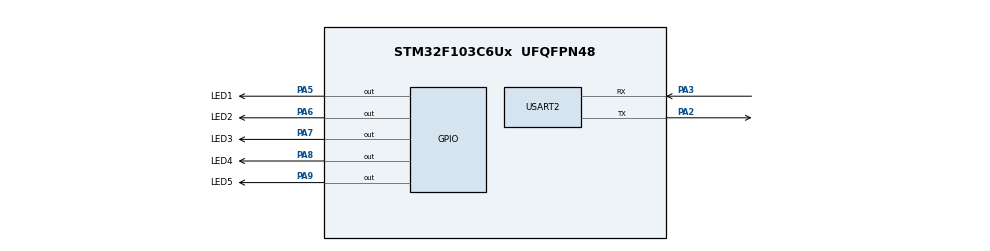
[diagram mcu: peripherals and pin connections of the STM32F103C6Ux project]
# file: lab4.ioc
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Mcu.Family=STM32F1
Mcu.Name=STM32F103C6Ux
Mcu.Package=UFQFPN48
NVIC.PriorityGroup=NVIC_PRIORITYGROUP_4
NVIC.TIM2_IRQn=true\:0\:0\:false\:false\:true\:true\:true
PA13.Mode=Serial_Wire
PA13.Signal=SYS_JTMS-SWDIO
PA14.Mode=Serial_Wire
PA14.Signal=SYS_JTCK-SWCLK
PA2.Mode=Asynchronous
PA2.Signal=USART2_TX
PA3.Mode=Asynchronous
PA3.Signal=USART2_RX
PA5.GPIO_Label=LED1
PA5.PinState=GPIO_PIN_RESET
PA5.Signal=GPIO_Output
PA6.GPIO_Label=LED2
PA6.PinState=GPIO_PIN_RESET
PA6.Signal=GPIO_Output
PA7.GPIO_Label=LED3
PA7.PinState=GPIO_PIN_RESET
PA7.Signal=GPIO_Output
PA8.GPIO_Label=LED4
PA8.PinState=GPIO_PIN_RESET
PA8.Signal=GPIO_Output
PA9.GPIO_Label=LED5
PA9.PinState=GPIO_PIN_RESET
PA9.Signal=GPIO_Output
ProjectManager.HeapSize=0x200
ProjectManager.StackSize=0x400
ProjectManager.TargetToolchain=STM32CubeIDE
RCC.APB1Freq_Value=8000000
RCC.APB2Freq_Value=8000000
TIM2.Period=9
TIM2.Prescaler=7999
USART2.VirtualMode=VM_ASYNC
VP_TIM2_VS_ClockSourceINT.Mode=Internal
board=custom

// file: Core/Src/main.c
/* USER CODE BEGIN Header */
/**
  ******************************************************************************
  * @file           : main.c
  * @brief          : Main program body
  ******************************************************************************
  * @attention
  *
  * <h2><center>&copy; Copyright (c) 2026 STMicroelectronics.
  * All rights reserved.</center></h2>
  *
  * This software component is licensed by ST under BSD 3-Clause license,
  * the "License"; You may not use this file except in compliance with the
  * License. You may obtain a copy of the License at:
  *                        opensource.org/licenses/BSD-3-Clause
  *
  ******************************************************************************
  */
/* USER CODE END Header */
#include "main.h"

/* USER CODE BEGIN Includes */
#include "scheduler.h"
#include <stdio.h>
/* USER CODE END Includes */

/* USER CODE BEGIN PD */
#define DEMO_PRINT   1
/* USER CODE END PD */

TIM_HandleTypeDef htim2;

UART_HandleTypeDef huart2;

void SystemClock_Config(void);
static void MX_GPIO_Init(void);
static void MX_TIM2_Init(void);
static void MX_USART2_UART_Init(void);

/* USER CODE BEGIN 0 */
void Task_LED1(void) { HAL_GPIO_TogglePin(GPIOA, GPIO_PIN_5); }  // D1: 0.5 s
void Task_LED2(void) { HAL_GPIO_TogglePin(GPIOA, GPIO_PIN_6); }  // D2: 1 s
void Task_LED3(void) { HAL_GPIO_TogglePin(GPIOA, GPIO_PIN_7); }  // D3: 1.5 s
void Task_LED4(void) { HAL_GPIO_TogglePin(GPIOA, GPIO_PIN_8); }  // D4: 2 s
void Task_LED5(void) { HAL_GPIO_TogglePin(GPIOA, GPIO_PIN_9); }  // D5: 2.5 s
static void Print_Time(const char *tag) {
    char buf[48];
    int n = sprintf(buf, "%s t=%lu ms\r\n", tag, (unsigned long)get_time());
    HAL_UART_Transmit(&huart2, (uint8_t *)buf, n, 50);
}
void Task_Print10ms(void)  { Print_Time("[10ms ]"); }
void Task_Print500ms(void) { Print_Time("[500ms]"); }
void Task_OneShot(void)    { Print_Time("[ONCE ]"); }

/* Task dùng để demo SCH_Delete_Task */
static uint32_t id_print10 = 0;
void Task_StopPrint10ms(void) {
    SCH_Delete_Task(id_print10);
    Print_Time("[DEL  ]");
}

/* ISR timer: 10 ms một lần */
void HAL_TIM_PeriodElapsedCallback(TIM_HandleTypeDef *htim) {
    if (htim->Instance == TIM2) {
        SCH_Update();
    }
}
/* USER CODE END 0 */

int main(void)
{

  /* MCU Configuration--------------------------------------------------------*/

  /* Reset of all peripherals, Initializes the Flash interface and the Systick. */
  HAL_Init();

  /* Configure the system clock */
  SystemClock_Config();

  /* Initialize all configured peripherals */
  MX_GPIO_Init();
  MX_TIM2_Init();
  MX_USART2_UART_Init();
  /* USER CODE BEGIN 2 */
  HAL_GPIO_WritePin(GPIOA,
      GPIO_PIN_5 | GPIO_PIN_6 | GPIO_PIN_7 | GPIO_PIN_8 | GPIO_PIN_9,
      GPIO_PIN_SET);

  SCH_Init();
  HAL_TIM_Base_Start_IT(&htim2);

  SCH_Add_Task(Task_LED1, 500,  500);    // D1: đổi trạng thái lúc 0.5 s, rồi mỗi 0.5 s
  SCH_Add_Task(Task_LED2, 1000, 1000);   // D2: lúc 1 s, rồi mỗi 1 s
  SCH_Add_Task(Task_LED3, 1500, 1500);   // D3: lúc 1.5 s, rồi mỗi 1.5 s
  SCH_Add_Task(Task_LED4, 2000, 2000);   // D4: lúc 2 s, rồi mỗi 2 s
  SCH_Add_Task(Task_LED5, 2500, 2500);   // D5: lúc 2.5 s, rồi mỗi 2.5 s

  #if DEMO_PRINT
  id_print10 = SCH_Add_Task(Task_Print10ms, 50, 10);   // in mỗi 10 ms
  SCH_Add_Task(Task_Print500ms, 500, 500);             // in mỗi 500 ms
  SCH_Add_Task(Task_OneShot,    3000, 0);              // chạy 1 lần sau 3 s
  SCH_Add_Task(Task_StopPrint10ms, 5000, 0);           // sau 5 s: xóa task 10 ms
  #endif
  /* USER CODE END 2 */

  /* Infinite loop */
  while (1)
  {

    /* USER CODE BEGIN 3 */
	  SCH_Dispatch_Tasks();
  }
  /* USER CODE END 3 */
}

void SystemClock_Config(void)
{
  RCC_OscInitTypeDef RCC_OscInitStruct = {0};
  RCC_ClkInitTypeDef RCC_ClkInitStruct = {0};

  /** Initializes the RCC Oscillators according to the specified parameters
  * in the RCC_OscInitTypeDef structure.
  */
  RCC_OscInitStruct.OscillatorType = RCC_OSCILLATORTYPE_HSI;
  RCC_OscInitStruct.HSIState = RCC_HSI_ON;
  RCC_OscInitStruct.HSICalibrationValue = RCC_HSICALIBRATION_DEFAULT;
  RCC_OscInitStruct.PLL.PLLState = RCC_PLL_NONE;
  if (HAL_RCC_OscConfig(&RCC_OscInitStruct) != HAL_OK)
  {
    Error_Handler();
  }
  /** Initializes the CPU, AHB and APB buses clocks
  */
  RCC_ClkInitStruct.ClockType = RCC_CLOCKTYPE_HCLK|RCC_CLOCKTYPE_SYSCLK
                              |RCC_CLOCKTYPE_PCLK1|RCC_CLOCKTYPE_PCLK2;
  RCC_ClkInitStruct.SYSCLKSource = RCC_SYSCLKSOURCE_HSI;
  RCC_ClkInitStruct.AHBCLKDivider = RCC_SYSCLK_DIV1;
  RCC_ClkInitStruct.APB1CLKDivider = RCC_HCLK_DIV1;
  RCC_ClkInitStruct.APB2CLKDivider = RCC_HCLK_DIV1;

  if (HAL_RCC_ClockConfig(&RCC_ClkInitStruct, FLASH_LATENCY_0) != HAL_OK)
  {
    Error_Handler();
  }
}

static void MX_TIM2_Init(void)
{

  TIM_ClockConfigTypeDef sClockSourceConfig = {0};
  TIM_MasterConfigTypeDef sMasterConfig = {0};

  htim2.Instance = TIM2;
  htim2.Init.Prescaler = 7999;
  htim2.Init.CounterMode = TIM_COUNTERMODE_UP;
  htim2.Init.Period = 9;
  htim2.Init.ClockDivision = TIM_CLOCKDIVISION_DIV1;
  htim2.Init.AutoReloadPreload = TIM_AUTORELOAD_PRELOAD_DISABLE;
  if (HAL_TIM_Base_Init(&htim2) != HAL_OK)
  {
    Error_Handler();
  }
  sClockSourceConfig.ClockSource = TIM_CLOCKSOURCE_INTERNAL;
  if (HAL_TIM_ConfigClockSource(&htim2, &sClockSourceConfig) != HAL_OK)
  {
    Error_Handler();
  }
  sMasterConfig.MasterOutputTrigger = TIM_TRGO_RESET;
  sMasterConfig.MasterSlaveMode = TIM_MASTERSLAVEMODE_DISABLE;
  if (HAL_TIMEx_MasterConfigSynchronization(&htim2, &sMasterConfig) != HAL_OK)
  {
    Error_Handler();
  }

}

static void MX_USART2_UART_Init(void)
{

  huart2.Instance = USART2;
  huart2.Init.BaudRate = 115200;
  huart2.Init.WordLength = UART_WORDLENGTH_8B;
  huart2.Init.StopBits = UART_STOPBITS_1;
  huart2.Init.Parity = UART_PARITY_NONE;
  huart2.Init.Mode = UART_MODE_TX_RX;
  huart2.Init.HwFlowCtl = UART_HWCONTROL_NONE;
  huart2.Init.OverSampling = UART_OVERSAMPLING_16;
  if (HAL_UART_Init(&huart2) != HAL_OK)
  {
    Error_Handler();
  }

}

static void MX_GPIO_Init(void)
{
  GPIO_InitTypeDef GPIO_InitStruct = {0};

  /* GPIO Ports Clock Enable */
  __HAL_RCC_GPIOA_CLK_ENABLE();

  /*Configure GPIO pin Output Level */
  HAL_GPIO_WritePin(GPIOA, LED1_Pin|LED2_Pin|LED3_Pin|LED4_Pin
                          |LED5_Pin, GPIO_PIN_RESET);

  /*Configure GPIO pins : LED1_Pin LED2_Pin LED3_Pin LED4_Pin
                           LED5_Pin */
  GPIO_InitStruct.Pin = LED1_Pin|LED2_Pin|LED3_Pin|LED4_Pin
                          |LED5_Pin;
  GPIO_InitStruct.Mode = GPIO_MODE_OUTPUT_PP;
  GPIO_InitStruct.Pull = GPIO_NOPULL;
  GPIO_InitStruct.Speed = GPIO_SPEED_FREQ_LOW;
  HAL_GPIO_Init(GPIOA, &GPIO_InitStruct);

}

void Error_Handler(void)
{
  __disable_irq();
  while (1)
  {
  }
}

/************************ (C) COPYRIGHT STMicroelectronics *****END OF FILE****/
